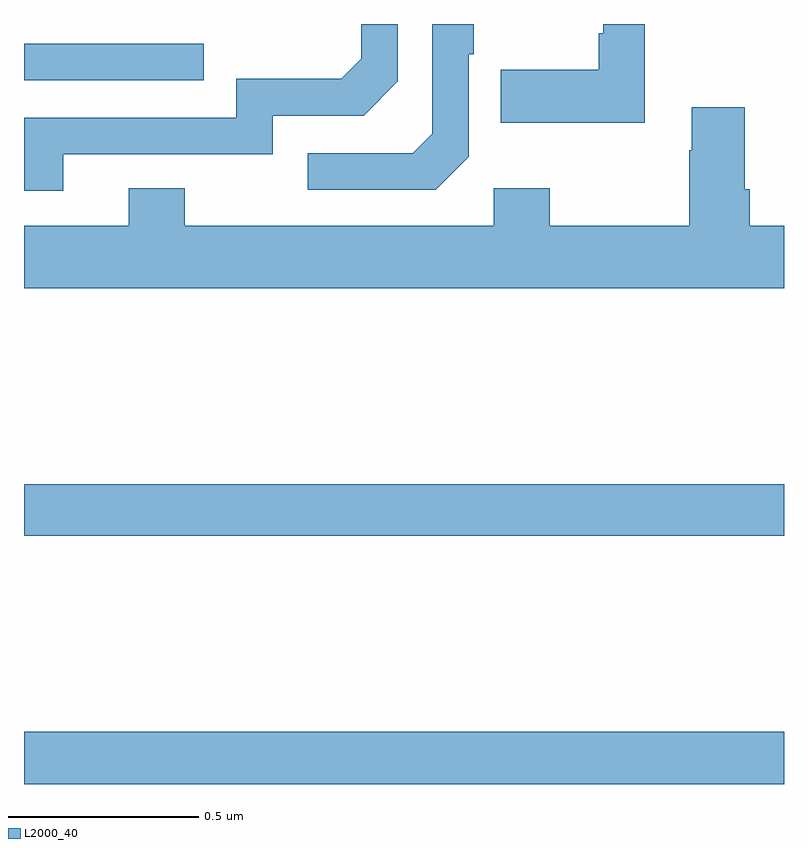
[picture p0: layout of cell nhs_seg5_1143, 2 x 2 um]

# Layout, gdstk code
import gdstk
lib = gdstk.Library(unit=1e-6, precision=1e-09)
def R(c, l, rs):  # rectangles x0, y0, x1, y1
    for r in rs: c.add(gdstk.rectangle(r[:2], r[2:], *l))
def P(c, l, *ps):  # polygons
    for p in ps: c.add(gdstk.Polygon(p, *l))
L2000_40 = (2000, 40)

nhs_seg5_1143 = lib.new_cell('nhs_seg5_1143')
R(nhs_seg5_1143, L2000_40, [(126,844.799,128,844.936), (126,845.452,128,845.588), (126,846.651,126.473,846.747)])
P(nhs_seg5_1143, L2000_40, [(127.17,846.45),(127.17,846.719),(127.183,846.719),(127.183,846.799),(127.074,846.799),(127.074,846.51),(127.023,846.459),(126.747,846.459),(126.747,846.363),(127.083,846.363)],
  [(126.103,846.456),(126.654,846.456),(126.654,846.558),(126.894,846.558),(126.984,846.648),(126.984,846.799),(126.888,846.799),(126.888,846.708),(126.835,846.655),(126.558,846.655),(126.558,846.552),(126,846.552),(126,846.36),(126.103,846.36)],
  [(127.633,846.799),(127.524,846.799),(127.524,846.775),(127.512,846.775),(127.512,846.679),(127.255,846.679),(127.255,846.539),(127.633,846.539)],
  [(127.236,846.367),(127.236,846.268),(126.423,846.268),(126.423,846.367),(126.275,846.367),(126.275,846.268),(126,846.268),(126,846.104),(128,846.104),(128,846.268),(127.91,846.268),(127.91,846.364),(127.897,846.364),(127.897,846.58),(127.757,846.58),(127.757,846.467),(127.75,846.467),(127.75,846.268),(127.383,846.268),(127.383,846.367)])

lib.write_gds('nhs_seg5_1143.gds')
